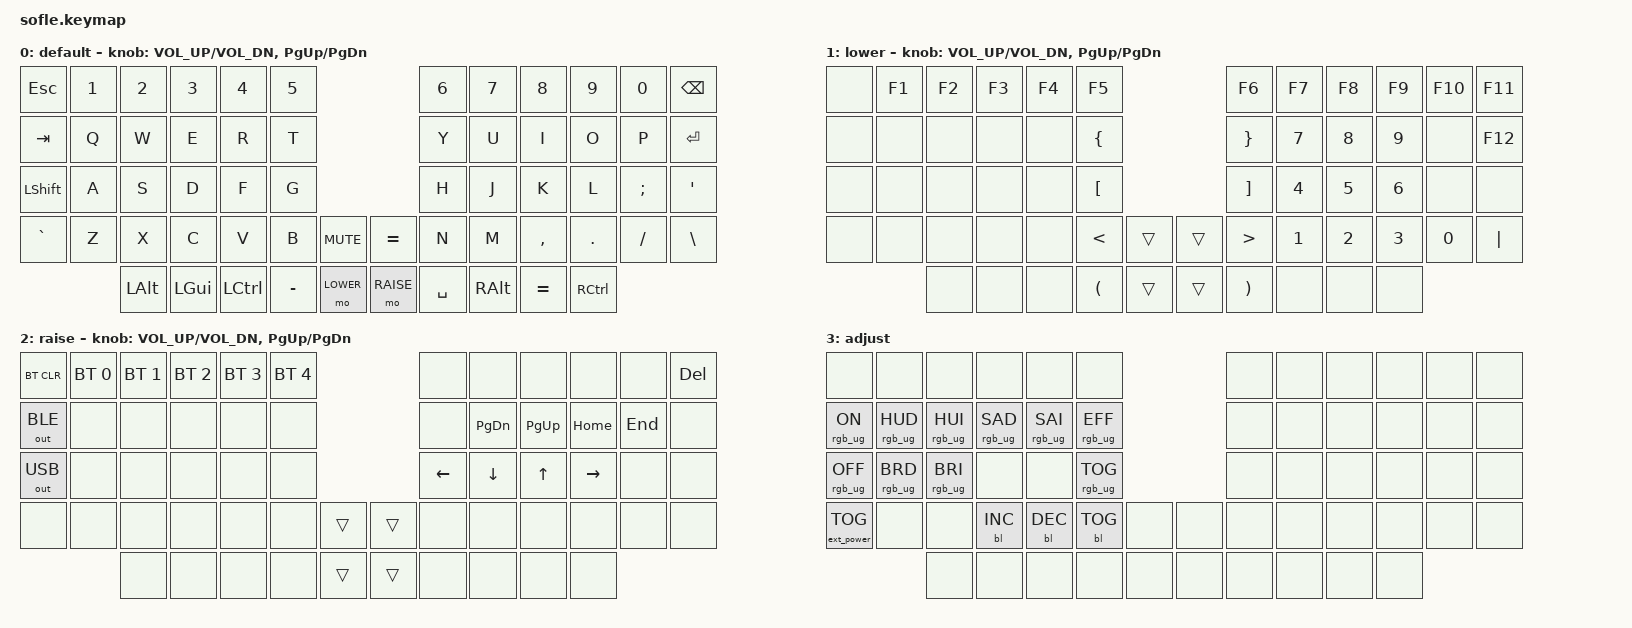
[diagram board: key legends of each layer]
/*
 * Copyright (c) 2020 The ZMK Contributors
 *
 * SPDX-License-Identifier: MIT
 */

#include <behaviors.dtsi>
#include <dt-bindings/zmk/keys.h>
#include <dt-bindings/zmk/bt.h>
#include <dt-bindings/zmk/rgb.h>
#include <dt-bindings/zmk/ext_power.h>
#include <dt-bindings/zmk/backlight.h>
#include <dt-bindings/zmk/outputs.h>

#define BASE 0
#define LOWER 1
#define RAISE 2
#define ADJUST 3

/ {

   // Activate ADJUST layer by pressing raise and lower
    conditional_layers {
        compatible = "zmk,conditional-layers";
        adjust_layer {
            if-layers = <LOWER RAISE>;
            then-layer = <ADJUST>;
        };
    };

    keymap {
        compatible = "zmk,keymap";

        default_layer {
            display-name = "default";
// ------------------------------------------------------------------------------------------------------------
// |   ESC   |  1  |  2  |  3   |  4   |  5   |                   |  6   |  7    |  8    |  9   |   0   | BKSPC |
// |   TAB   |  Q  |  W  |  E   |  R   |  T   |                   |  Y   |  U    |  I    |  O   |   P   | ENTER |
// |  SHIFT  |  A  |  S  |  D   |  F   |  G   |                   |  H   |  J    |  K    |  L   |   ;   |   '   |
// |    `    |  Z  |  X  |  C   |  V   |  B   |  MUTE  |  |   =   |  N   |  M    |  ,    |  .   |   /   |   \   |
//                 | GUI | ALT  | CTRL | MINUS|  LOWER |  | RAISE | SPACE|  ALT  | CTRL  |   =  |
            bindings = <
&kp ESC   &kp N1 &kp N2   &kp N3   &kp N4    &kp N5                           &kp N6 &kp N7    &kp N8    &kp N9   &kp N0   &kp BSPC
&kp TAB   &kp Q  &kp W    &kp E    &kp R     &kp T                            &kp Y  &kp U     &kp I     &kp O    &kp P    &kp RET
&kp LSHFT &kp A  &kp S    &kp D    &kp F     &kp G                            &kp H  &kp J     &kp K     &kp L    &kp SEMI &kp SQT
&kp GRAVE &kp Z  &kp X    &kp C    &kp V     &kp B      &kp C_MUTE &kp EQUAL  &kp N  &kp M     &kp COMMA &kp DOT  &kp FSLH &kp BSLH
                 &kp LALT &kp LGUI &kp LCTRL &kp MINUS  &mo LOWER  &mo RAISE  &kp SPACE  &kp RALT &kp EQUAL &kp RCTRL
            >;

            sensor-bindings = <&inc_dec_kp C_VOL_UP C_VOL_DN &inc_dec_kp PG_UP PG_DN>;
        };

        lower_layer {
            display-name = "lower";
// TODO: Some binds are waiting for shifted keycode support.
// ------------------------------------------------------------------------------------------------------------
// |       |  F1 |  F2 |  F3  |  F4  |  F5  |                   |  F6  |  F7   |  F8   |  F9  |  F10  |  F11  |
// |       |     |     |      |      |  {   |                   |  }   |  7    |  8    |  9   |       |  F12  |
// |       |     |     |      |      |  [   |                   |  ]   |  4    |  5    |  6   |       |       |
// |       |     |     |      |      |  <   |        |  |       |  >   |  1    |  2    |  3   |   0   |   |   |
//               |     |      |      |  (   |        |  |       |  )   |       |       |      |
            bindings = <
&none    &kp F1    &kp F2   &kp F3   &kp F4 &kp F5                    &kp F6     &kp F7   &kp F8   &kp F9  &kp F10   &kp F11
&none    &none     &none    &none    &none  &kp LBRC                  &kp RBRC   &kp N7   &kp N8   &kp N9  &none     &kp F12
&none    &none     &none    &none    &none  &kp LBKT                  &kp RBKT   &kp N4   &kp N5   &kp N6  &none     &none
&none    &none     &none    &none    &none  &kp LT     &trans &trans  &kp GT     &kp N1   &kp N2   &kp N3  &kp N0    &kp PIPE
                    &none   &none    &none  &kp LPAR   &trans &trans  &kp RPAR   &none    &none    &none
            >;

            sensor-bindings = <&inc_dec_kp C_VOL_UP C_VOL_DN &inc_dec_kp PG_UP PG_DN>;
        };

        raise_layer {
            display-name = "raise";
// ------------------------------------------------------------------------------------------------------------
// | BTCLR | BT1  | BT2  |  BT3  |  BT4  |  BT5 |                |      |      |       |      |       |  DEL  |
// |       |      |      |       |       |      |                |      |PG_DN | PG_UP | HOME |  END  |       |
// |       |      |      |       |       |      |                |  <-  |   v  |   ^   |  ->  |       |       |
// |       |      |      |       |       |      |      |  |      |      |      |       |      |       |       |
//                |      |       |       |      |      |  |      |      |      |       |      |
            bindings = <
&bt BT_CLR   &bt BT_SEL 0 &bt BT_SEL 1 &bt BT_SEL 2 &bt BT_SEL 3 &bt BT_SEL 4               &none    &none     &none     &none     &none   &kp DEL
&out OUT_BLE &none        &none        &none        &none        &none                      &none    &kp PG_DN &kp PG_UP &kp HOME  &kp END &none
&out OUT_USB &none        &none        &none        &none        &none                      &kp LEFT &kp DOWN  &kp UP    &kp RIGHT &none   &none
&none        &none        &none        &none        &none        &none    &trans  &trans    &none    &none     &none     &none     &none   &none
                          &none        &none        &none        &none    &trans  &trans    &none    &none     &none     &none
            >;

            sensor-bindings = <&inc_dec_kp C_VOL_UP C_VOL_DN &inc_dec_kp PG_UP PG_DN>;
        };

        adjust_layer {
// ----------------------------------------------------------------------------------------------------------------------------
// |         |         |         |         |         |         |                  |      |      |       |      |       |       |
// | RGB_ON  | RGB_HUD | RGB_HUI | RGB_SAD | RGB_SAI | RGB_EFF |                  |      |      |       |      |       |       |
// | RGB_OFF | RGB_BRD | RGB_BRI |         |         | RGB_TOG |                  |      |      |       |      |       |       |
// |  EXTPW  |         |         | BL_INC  | BL_DEC  | BL_TOG  |         | |      |      |      |       |      |       |       |
//                     |         |         |         |         |         | |      |      |      |       |      |
            display-name = "adjust";
            bindings = <
&none             &none           &none           &none           &none           &none                             &none &none &none &none &none &none
&rgb_ug RGB_ON    &rgb_ug RGB_HUD &rgb_ug RGB_HUI &rgb_ug RGB_SAD &rgb_ug RGB_SAI &rgb_ug RGB_EFF                   &none &none &none &none &none &none
&rgb_ug RGB_OFF   &rgb_ug RGB_BRD &rgb_ug RGB_BRI &none           &none           &rgb_ug RGB_TOG                   &none &none &none &none &none &none
&ext_power EP_TOG &none           &none           &bl BL_INC      &bl BL_DEC      &bl BL_TOG       &none      &none &none &none &none &none &none &none
                                  &none           &none           &none           &none            &none      &none &none &none &none &none
            >;
        };

    };
};
